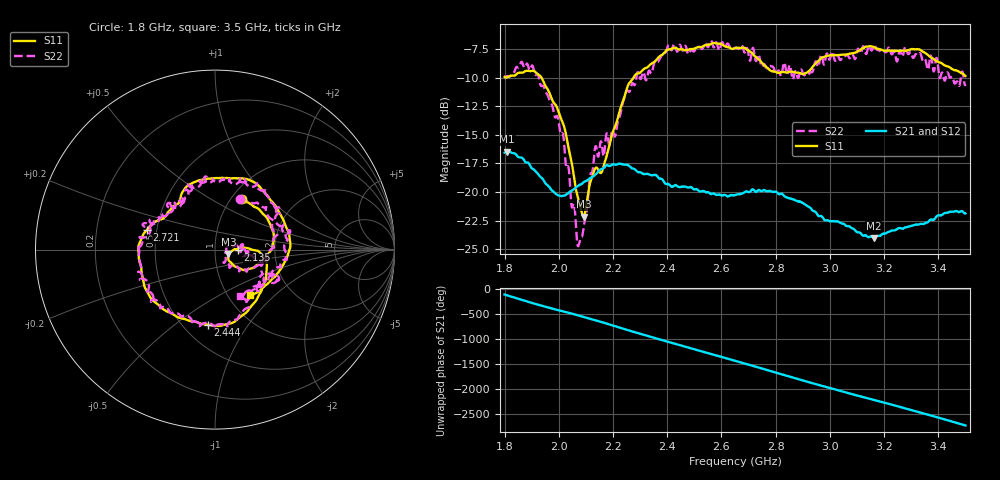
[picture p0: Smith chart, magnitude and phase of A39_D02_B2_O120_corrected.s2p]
! Created with skrf 1.9.0 (http://scikit-rf.org).
# Hz S RI R 50.0
!freq ReS11 ImS11 ReS21 ImS21 ReS12 ImS12 ReS22 ImS22
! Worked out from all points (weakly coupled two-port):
!   1601 points, 1.8 GHz to 3.5 GHz, reference 50 ohm
!   highest |S21| = -16.47 dB at 1.81 GHz (marker M1); lowest = -24.0 dB at 3.162 GHz (marker M2)
!   lowest |S11| = -22.1 dB at 2.091 GHz (marker M3), VSWR 1.17, Z = 57.9 - j2.85 ohm
!   |S11| at or under -10 dB: 1.936 GHz to 2.275 GHz (339.2 MHz wide, 16.1 % of centre)
!   |S22| runs from -24.7 to -6.7 dB; largest |S21 - S12| = 0.0025
!   S11 on the Smith chart (normalised r, x): 1.8 GHz: 1.12, +0.70; 2.135 GHz: 1.29, -0.01; 2.444 GHz: 0.66, -0.67; 2.721 GHz: 0.44, +0.11; 3.5 GHz: 1.26, -0.72
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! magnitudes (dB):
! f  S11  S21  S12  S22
! 1.8 GHz  -9.9  -16.6  -16.5  -10.1
! 1.81 GHz  -10.0  -16.5  -16.5  -9.9
! 1.882 GHz  -9.4  -17.4  -17.4  -8.8
! 1.952 GHz  -10.8  -19.3  -19.2  -11.3
! 2.019 GHz  -14.2  -20.3  -20.3  -15.6
! 2.07 GHz  -20.4  -19.5  -19.5  -24.7
! 2.084 GHz  -21.7  -19.3  -19.2  -23.9
! 2.091 GHz  -22.1  -19.1  -19.2  -23.2
! 2.135 GHz  -17.9  -18.5  -18.5  -16.0
! 2.162 GHz  -18.0  -17.9  -17.9  -16.6
! 2.21 GHz  -14.1  -17.6  -17.6  -14.9
! 2.259 GHz  -10.5  -17.7  -17.7  -11.2
! 2.367 GHz  -8.2  -18.7  -18.7  -8.6
! 2.444 GHz  -7.5  -19.6  -19.6  -7.2
! 2.65 GHz  -7.4  -20.3  -20.2  -7.4
! 2.721 GHz  -8.1  -19.9  -19.8  -7.9
! 2.806 GHz  -9.6  -20.1  -20.1  -9.5
! 2.934 GHz  -9.1  -21.6  -21.5  -9.5
! 3.162 GHz  -7.3  -24.0  -24.0  -7.2
! 3.217 GHz  -7.6  -23.5  -23.4  -7.4
! 3.329 GHz  -7.5  -22.8  -22.8  -7.9
! 3.5 GHz  -9.9  -21.9  -21.8  -10.6
